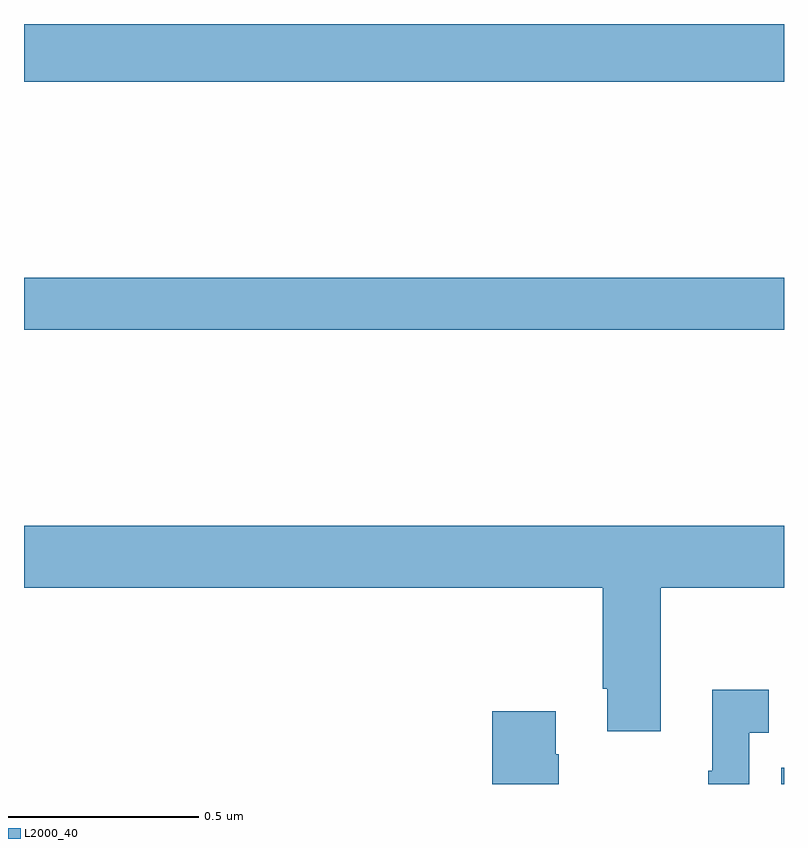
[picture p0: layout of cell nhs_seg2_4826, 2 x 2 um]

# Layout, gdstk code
import gdstk
lib = gdstk.Library(unit=1e-6, precision=1e-09)
def R(c, l, rs):  # rectangles x0, y0, x1, y1
    for r in rs: c.add(gdstk.rectangle(r[:2], r[2:], *l))
def P(c, l, *ps):  # polygons
    for p in ps: c.add(gdstk.Polygon(p, *l))
L2000_40 = (2000, 40)

nhs_seg2_4826 = lib.new_cell('nhs_seg2_4826')
R(nhs_seg2_4826, L2000_40, [(172.993,633.8,173,633.843), (171,634.996,173,635.132), (171,635.648,173,635.8)])
P(nhs_seg2_4826, L2000_40, [(172.675,634.316),(173,634.316),(173,634.48),(171,634.48),(171,634.316),(172.523,634.316),(172.523,634.051),(172.535,634.051),(172.535,633.939),(172.675,633.939)],
  [(172.908,633.935),(172.96,633.935),(172.96,634.048),(172.811,634.048),(172.811,633.835),(172.8,633.835),(172.8,633.8),(172.908,633.8)],
  [(172.407,633.878),(172.399,633.878),(172.399,633.991),(172.232,633.991),(172.232,633.8),(172.407,633.8)])

lib.write_gds('nhs_seg2_4826.gds')
